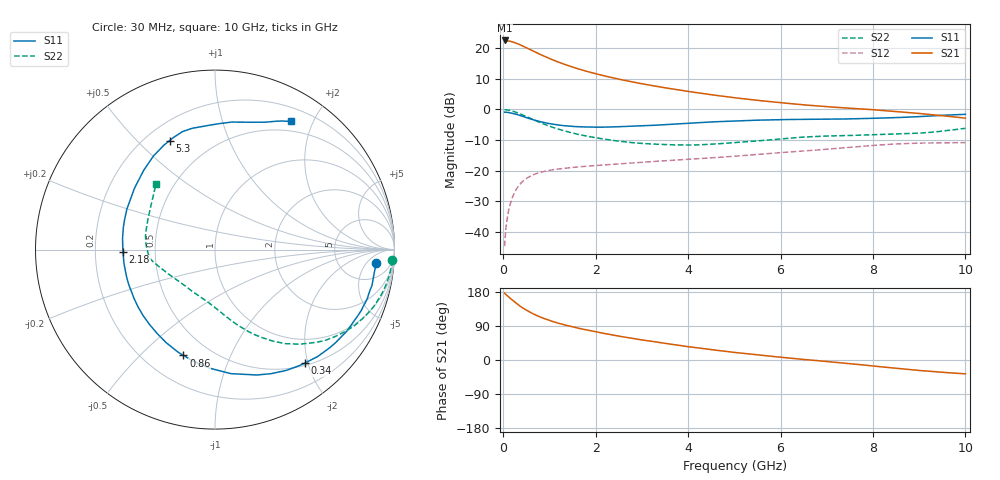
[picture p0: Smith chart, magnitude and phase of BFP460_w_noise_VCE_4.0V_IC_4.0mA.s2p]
! (c) 2016  Infineon Technologies AG, Munich
! Infineon Technologies  Discrete & RF Semiconductors
! BFP460
! VCE =  4.0 V,  IC =  4.0 mA
! Common Emitter S-Parameters:  Jan 2016
# GHz  S  MA  R  50
!  f  S11  S21  S12  S22
! GHz  MAG  ANG  MAG  ANG  MAG  ANG  MAG  ANG
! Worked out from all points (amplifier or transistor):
!   229 points, 30 MHz to 10 GHz, reference 50 ohm
!   highest |S21| = 22.5 dB at 30 MHz (marker M1)
!   |S21| within 3 dB of that: start of sweep to 586 MHz
!   unconditionally stable (mu >= 1): 3.268 GHz to 7.761 GHz
!   at 280 MHz: K = 0.14, MSG = 23.9 dB, |S12| = -26.2 dB
!   at 1.78 GHz: K = 0.70, MSG = 15.6 dB, |S12| = -18.6 dB
!   at 10 GHz: K = 0.93, MSG = 4.0 dB, |S12| = -10.9 dB
!   lowest NFmin = 0.75 dB at 450 MHz
!   S11 on the Smith chart (normalised r, x): 30 MHz: 12, -9; 340 MHz: 0.54, -1.94; 860 MHz: 0.36, -0.68; 2.18 GHz: 0.32, -0.01; 5.3 GHz: 0.29, +0.63; 10 GHz: 0.37, +1.70
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0.03  0.9014 -4.8  13.4 176.4  0.0058 84.4  0.9899 -3.4
0.05  0.8966 -8.1  13.3 173.6  0.0096 83.7  0.9871 -5.0
0.09  0.8935 -14.4  13.27 169.6  0.0172 80.8  0.9797 -9.2
0.19  0.8657 -30.1  12.76 158.8  0.035 72.7  0.943 -18.8
0.26  0.841 -40.6  12.26 151.8  0.0461 67.4  0.9082 -25.0
0.34  0.8062 -51.7  11.6 144.3  0.0571 61.8  0.8613 -31.6
0.45  0.7585 -65.7  10.64 135.2  0.0696 55.2  0.7943 -39.6
0.6  0.6968 -82.7  9.381 124.6  0.0821 48.1  0.7064 -48.3
0.7  0.661 -92.7  8.613 118.6  0.0883 44.4  0.6541 -53.2
0.86  0.6152 -106.6  7.562 110.6  0.0957 39.8  0.5829 -59.4
1  0.5854 -117.7  6.799 104.3  0.1008 36.7  0.5313 -64.2
1.2  0.5542 -131.2  5.909 96.8  0.1062 33.5  0.4734 -69.7
1.44  0.5313 -145.2  5.093 89.2  0.1113 31.0  0.4215 -75.2
1.7  0.5184 -158.2  4.416 81.9  0.1159 29.2  0.3795 -80.3
2.18  0.5128 -178.3  3.543 70.2  0.1238 27.2  0.3269 -89.1
2.8  0.5316 161.0  2.804 56.9  0.1334 25.6  0.2856 -101.7
3.4  0.5573 145.1  2.323 45.8  0.143 24.7  0.2678 -114.7
5.1  0.6508 114.9  1.521 18.8  0.1735 22.6  0.2899 -151.2
5.3  0.658 112.6  1.461 16.3  0.1784 22.3  0.2972 -154.1
6.8  0.6884 97.5  1.138 -1.7  0.2171 17.8  0.3611 -171.3
8.4  0.7295 76.6  0.935 -20.6  0.2694 8.1  0.3943 169.2
10  0.8304 59.3  0.719 -36.5  0.2863 -3.6  0.4908 132.0
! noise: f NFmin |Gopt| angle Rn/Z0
0.45  0.75  0.4  17  0.18
0.9  0.77  0.41  35  0.18
1.9  1.06  0.21  94  0.13
3.5  1.3  0.35  -157  0.09
